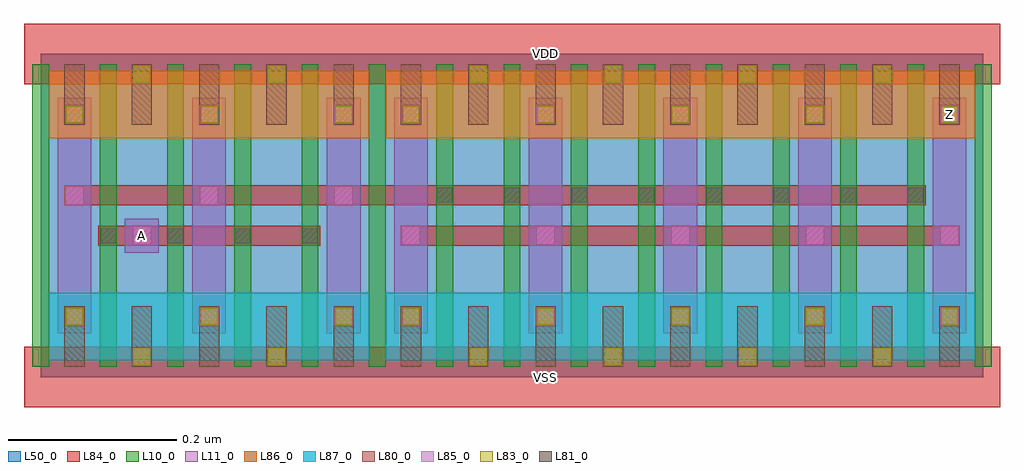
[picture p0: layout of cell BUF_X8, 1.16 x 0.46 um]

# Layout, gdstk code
import gdstk
lib = gdstk.Library(unit=1e-6, precision=1e-09)
def R(c, l, rs):  # rectangles x0, y0, x1, y1
    for r in rs: c.add(gdstk.rectangle(r[:2], r[2:], *l))
def A(c, l, x, y, w, h, nx, ny, dx, dy):  # array of equal rectangles
    R(c, l, [(x+i*dx, y+j*dy, x+i*dx+w, y+j*dy+h) for i in range(nx) for j in range(ny)])
L10_0 = (10, 0)
L11_0 = (11, 0)
L50_0 = (50, 0)
L80_0 = (80, 0)
L81_0 = (81, 0)
L83_0 = (83, 0)
L84_0 = (84, 0)
L85_0 = (85, 0)
L86_0 = (86, 0)
L87_0 = (87, 0)

buf_x8 = lib.new_cell('BUF_X8')
A(buf_x8, L10_0, -0.01, 0.012, 0.02, 0.36, 6, 1, 0.08, 0)
A(buf_x8, L10_0, 0.39, 0.012, 0.02, 0.36, 5, 1, 0.08, 0)
A(buf_x8, L10_0, 0.79, 0.012, 0.02, 0.36, 5, 1, 0.08, 0)
R(buf_x8, L10_0, [(0.71,0.012,0.73,0.372), (0.79,0.012,0.81,0.372)])
A(buf_x8, L11_0, 0.02, 0.052, 0.04, 0.28, 3, 1, 0.16, 0)
A(buf_x8, L11_0, 0.42, 0.052, 0.04, 0.28, 3, 1, 0.16, 0)
A(buf_x8, L11_0, 0.74, 0.052, 0.04, 0.28, 3, 1, 0.16, 0)
R(buf_x8, L11_0, [(0.1,0.148,0.14,0.188)])
R(buf_x8, L50_0, [(0,0,1.12,0.384)])
A(buf_x8, L80_0, 0.028, 0.012, 0.024, 0.072, 10, 2, 0.08, 0.288)
A(buf_x8, L80_0, 0.748, 0.012, 0.024, 0.072, 5, 2, 0.08, 0.288)
A(buf_x8, L81_0, 0.071, 0.159, 0.018, 0.018, 4, 1, 0.08, 0)
A(buf_x8, L81_0, 0.471, 0.207, 0.018, 0.018, 8, 1, 0.08, 0)
A(buf_x8, L83_0, 0.51, 0.014, 0.02, 0.02, 4, 2, 0.16, 0.336)
A(buf_x8, L83_0, 0.03, 0.062, 0.02, 0.02, 3, 2, 0.16, 0.24)
A(buf_x8, L83_0, 0.43, 0.062, 0.02, 0.02, 3, 2, 0.16, 0.24)
A(buf_x8, L83_0, 0.75, 0.062, 0.02, 0.02, 3, 2, 0.16, 0.24)
R(buf_x8, L83_0, [(0.11,0.014,0.13,0.034), (0.27,0.014,0.29,0.034), (0.11,0.35,0.13,0.37), (0.27,0.35,0.29,0.37)])
A(buf_x8, L84_0, 0.028, 0.06, 0.024, 0.024, 3, 2, 0.16, 0.24)
A(buf_x8, L84_0, 0.428, 0.06, 0.024, 0.024, 3, 2, 0.16, 0.24)
A(buf_x8, L84_0, 0.748, 0.06, 0.024, 0.024, 3, 2, 0.16, 0.24)
R(buf_x8, L84_0, [(-0.02,-0.036,0.42,0.036), (0.38,-0.036,0.82,0.036), (0.7,-0.036,1.14,0.036), (0.068,0.156,0.332,0.18), (0.428,0.156,0.772,0.18), (0.748,0.156,1.092,0.18), (0.028,0.204,0.372,0.228), (0.34,0.204,0.81,0.228), (0.788,0.204,1.052,0.228), (-0.02,0.348,0.42,0.42), (0.38,0.348,0.82,0.42), (0.7,0.348,1.14,0.42)])
A(buf_x8, L85_0, 0.029, 0.061, 0.022, 0.022, 3, 2, 0.16, 0.144)
A(buf_x8, L85_0, 0.429, 0.061, 0.022, 0.022, 3, 2, 0.16, 0.096)
A(buf_x8, L85_0, 0.749, 0.061, 0.022, 0.022, 3, 2, 0.16, 0.096)
A(buf_x8, L85_0, 0.029, 0.301, 0.022, 0.022, 3, 1, 0.16, 0)
A(buf_x8, L85_0, 0.429, 0.301, 0.022, 0.022, 3, 1, 0.16, 0)
A(buf_x8, L85_0, 0.749, 0.301, 0.022, 0.022, 3, 1, 0.16, 0)
R(buf_x8, L85_0, [(0.109,0.157,0.131,0.179)])
R(buf_x8, L86_0, [(0.01,0.284,0.39,0.364), (0.41,0.284,0.79,0.364), (0.73,0.284,1.11,0.364)])
R(buf_x8, L87_0, [(0.01,0.02,0.39,0.1), (0.41,0.02,0.79,0.1), (0.73,0.02,1.11,0.1)])
buf_x8.add(gdstk.Label('VSS', (0.6,0), layer=88, texttype=0))
buf_x8.add(gdstk.Label('VDD', (0.6,0.384), layer=88, texttype=0))
buf_x8.add(gdstk.Label('A', (0.12,0.168), layer=31, texttype=0))
buf_x8.add(gdstk.Label('Z', (1.08,0.312), layer=31, texttype=0))

lib.write_gds('BUF_X8.gds')
